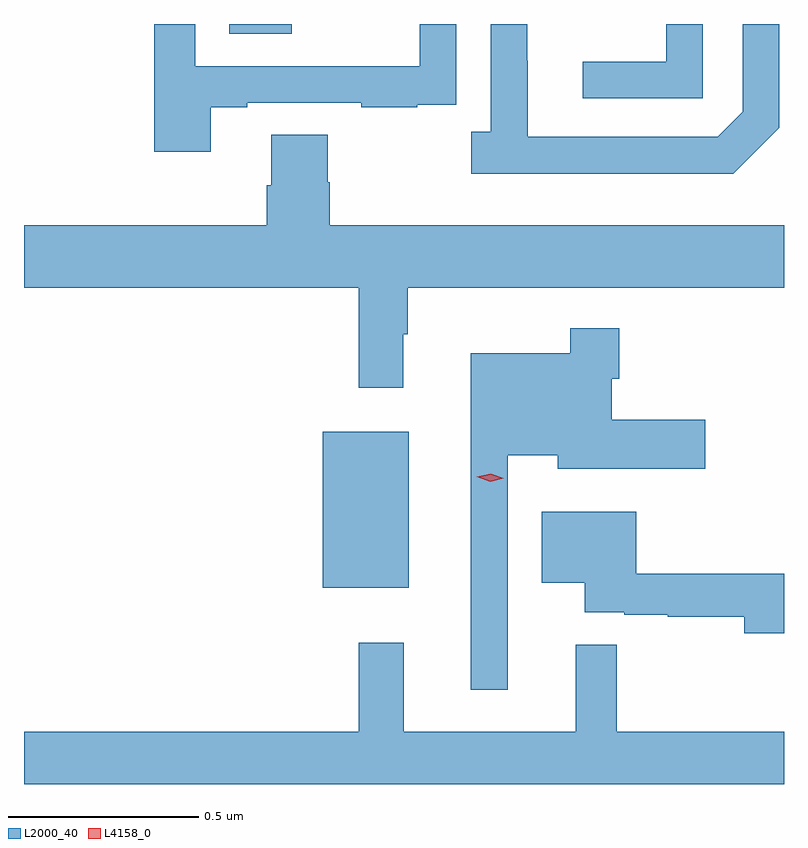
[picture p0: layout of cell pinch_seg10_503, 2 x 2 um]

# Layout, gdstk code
import gdstk
lib = gdstk.Library(unit=1e-6, precision=1e-09)
def R(c, l, rs):  # rectangles x0, y0, x1, y1
    for r in rs: c.add(gdstk.rectangle(r[:2], r[2:], *l))
def P(c, l, *ps):  # polygons
    for p in ps: c.add(gdstk.Polygon(p, *l))
L2000_40 = (2000, 40)
L4158_0 = (4158, 0)

pinch_seg10_503 = lib.new_cell('pinch_seg10_503')
R(pinch_seg10_503, L2000_40, [(318.08,1312.847,318.307,1313.257), (317.834,1314.304,317.998,1314.33), (318.707,1314.329,318.895,1314.33)])
P(pinch_seg10_503, L2000_40, [(317.785,1314.111),(317.881,1314.111),(317.881,1314.123),(318.181,1314.123),(318.181,1314.111),(318.329,1314.111),(318.329,1314.117),(318.431,1314.117),(318.431,1314.226),(318.432,1314.226),(318.432,1314.33),(318.336,1314.33),(318.336,1314.219),(317.745,1314.219),(317.745,1314.33),(317.637,1314.33),(317.637,1313.994),(317.785,1313.994)],
  [(319.08,1314.33),(318.984,1314.33),(318.984,1314.231),(318.765,1314.231),(318.765,1314.135),(319.08,1314.135)],
  [(319.281,1314.057),(319.281,1314.33),(319.185,1314.33),(319.185,1314.099),(319.119,1314.033),(318.619,1314.033),(318.619,1314.233),(318.618,1314.233),(318.618,1314.33),(318.522,1314.33),(318.522,1314.046),(318.471,1314.046),(318.471,1313.936),(319.16,1313.936)],
  [(318.292,1313.513),(318.304,1313.513),(318.304,1313.636),(319.294,1313.636),(319.294,1313.8),(318.098,1313.8),(318.098,1313.913),(318.093,1313.913),(318.093,1314.038),(317.945,1314.038),(317.945,1313.906),(317.933,1313.906),(317.933,1313.8),(317.294,1313.8),(317.294,1313.636),(318.175,1313.636),(318.175,1313.373),(318.292,1313.373)],
  [(318.567,1313.195),(318.698,1313.195),(318.698,1313.159),(319.087,1313.159),(319.087,1313.289),(318.841,1313.289),(318.841,1313.397),(318.86,1313.397),(318.86,1313.53),(318.732,1313.53),(318.732,1313.464),(318.47,1313.464),(318.47,1312.578),(318.567,1312.578)],
  [(319.294,1312.883),(318.905,1312.883),(318.905,1313.047),(318.656,1313.047),(318.656,1312.859),(318.77,1312.859),(318.77,1312.782),(318.874,1312.782),(318.874,1312.776),(318.988,1312.776),(318.988,1312.77),(319.19,1312.77),(319.19,1312.727),(319.294,1312.727)],
  [(319.294,1312.468),(318.854,1312.468),(318.854,1312.697),(318.746,1312.697),(318.746,1312.468),(318.293,1312.468),(318.293,1312.702),(318.175,1312.702),(318.175,1312.468),(317.294,1312.468),(317.294,1312.33),(319.294,1312.33)])
P(pinch_seg10_503, L4158_0, [(318.521,1313.126),(318.486,1313.138),(318.486,1313.139),(318.486,1313.139),(318.522,1313.146),(318.556,1313.134),(318.557,1313.134),(318.556,1313.134)])

lib.write_gds('pinch_seg10_503.gds')
